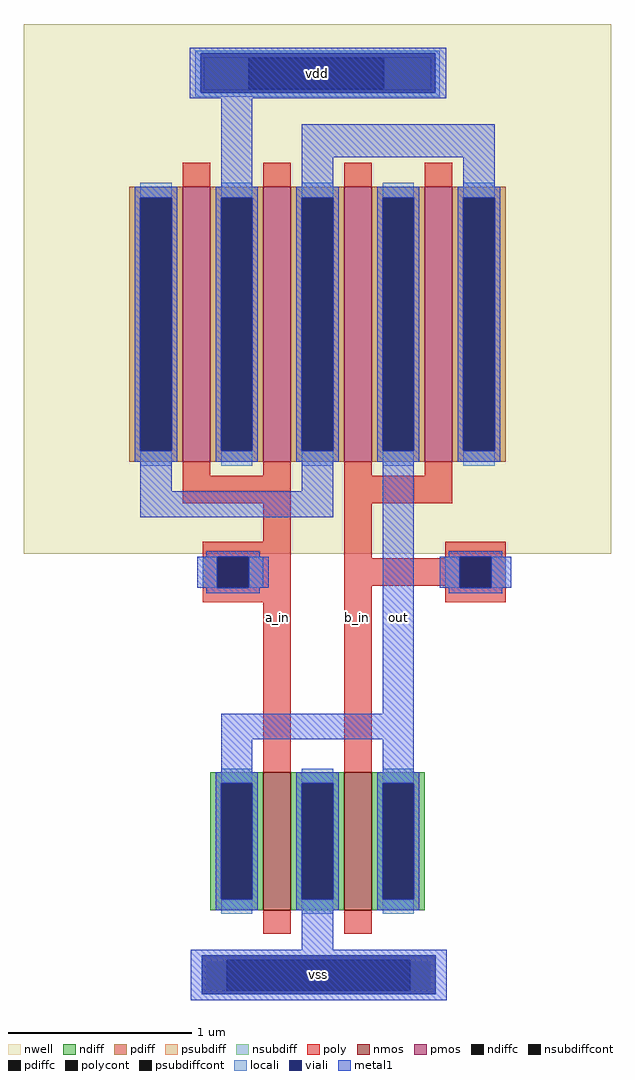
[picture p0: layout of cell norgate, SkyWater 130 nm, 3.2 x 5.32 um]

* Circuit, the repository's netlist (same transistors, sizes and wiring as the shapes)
* Extracted by KLayout with SG13G2 LVS runset on : 16/03/2026 18:31

.SUBCKT norgate
M$1 \$1 \$5 \$2 \$1 sg13_lv_nmos L=0.15u W=0.75u AS=0.255p AD=0.1425p PS=2.18u
+ PD=1.13u
M$2 \$2 \$6 \$1 \$1 sg13_lv_nmos L=0.15u W=0.75u AS=0.1425p AD=0.255p PS=1.13u
+ PD=2.18u
M$3 \$2 \$5 \$3 \$4 sg13_lv_pmos L=0.15u W=3u AS=1.02p AD=0.57p PS=6.68u
+ PD=3.38u
M$4 \$3 \$6 \$4 \$4 sg13_lv_pmos L=0.15u W=3u AS=0.57p AD=1.02p PS=3.38u
+ PD=6.68u
.ENDS norgate

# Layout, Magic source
magic
tech sky130A
magscale 1 2
<< nwell >>
rect 0 501 640 1063
rect 0 486 291 501
rect 315 499 640 501
rect 315 486 429 499
rect 459 486 640 499
<< poly >>
rect 173 571 203 586
rect 261 571 291 586
rect 173 541 291 571
rect 261 499 291 541
rect 195 433 291 499
rect 261 248 291 433
rect 349 571 379 586
rect 437 571 467 586
rect 349 541 467 571
rect 349 481 379 541
rect 459 481 525 499
rect 349 451 525 481
rect 349 248 379 451
rect 459 433 525 451
<< metal1 >>
rect 181 982 460 1037
rect 215 886 249 982
rect 303 918 513 954
rect 303 886 337 918
rect 479 886 513 918
rect 127 554 161 598
rect 303 554 337 598
rect 127 526 337 554
rect 391 312 425 598
rect 215 284 425 312
rect 215 245 249 284
rect 391 248 425 284
rect 303 55 337 98
rect 182 0 461 55
use grid  grid_0 blocks/xorgate/layout
transform 1 0 221 0 1 10
box -61 -10 259 1053
use sky130_fd_pr__nfet_01v8_KRUHEH  sky130_fd_pr__nfet_01v8_KRUHEH_0 blocks/xorgate/layout
transform 1 0 276 0 1 173
box -73 -101 73 101
use sky130_fd_pr__nfet_01v8_KRUHEH  sky130_fd_pr__nfet_01v8_KRUHEH_1
transform 1 0 364 0 1 173
box -73 -101 73 101
use sky130_fd_pr__pfet_01v8_MDJ67A  sky130_fd_pr__pfet_01v8_MDJ67A_0 blocks/xorgate/layout
transform 1 0 188 0 1 736
box -109 -212 109 212
use sky130_fd_pr__pfet_01v8_MDJ67A  sky130_fd_pr__pfet_01v8_MDJ67A_1
transform 1 0 276 0 1 736
box -109 -212 109 212
use sky130_fd_pr__pfet_01v8_MDJ67A  sky130_fd_pr__pfet_01v8_MDJ67A_2
transform 1 0 364 0 1 736
box -109 -212 109 212
use sky130_fd_pr__pfet_01v8_MDJ67A  sky130_fd_pr__pfet_01v8_MDJ67A_3
transform 1 0 452 0 1 736
box -109 -212 109 212
use viapoly_M1  viapoly_M1_0 blocks/xorgate/layout
transform 1 0 155 0 1 235
box 34 198 112 264
use viapoly_M1  viapoly_M1_1
transform 1 0 419 0 1 235
box 34 198 112 264
<< labels >>
rlabel metal1 182 0 461 55 1 vss
rlabel metal1 181 982 460 1037 1 vdd
rlabel space 391 236 425 598 1 out
rlabel poly 261 248 291 586 1 a_in
rlabel poly 349 248 379 586 1 b_in
<< end >>

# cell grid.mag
magic
tech sky130A
magscale 1 2
<< nwell >>
rect -61 476 259 1053
<< psubdiff >>
rect -24 0 0 34
rect 200 0 224 34
<< nsubdiff >>
rect -25 1016 223 1017
rect -25 982 24 1016
rect 171 982 223 1016
rect -25 981 223 982
<< psubdiffcont >>
rect 0 0 200 34
<< nsubdiffcont >>
rect 24 982 171 1016
<< locali >>
rect -34 1021 232 1024
rect -34 978 -28 1021
rect 227 978 232 1021
rect -34 974 232 978
<< viali >>
rect -28 1016 227 1021
rect -28 982 24 1016
rect 24 982 171 1016
rect 171 982 227 1016
rect -28 978 227 982
rect -27 34 228 39
rect -27 0 0 34
rect 0 0 200 34
rect 200 0 228 34
rect -27 -4 228 0
<< metal1 >>
rect -40 1021 239 1027
rect -40 978 -28 1021
rect 227 978 239 1021
rect -40 972 239 978
rect -39 39 240 45
rect -39 -4 -27 39
rect 228 -4 240 39
rect -39 -10 240 -4
<< end >>

# cell sky130_fd_pr__nfet_01v8_KRUHEH: kit device sky130_fd_pr__nfet_01v8, w 0.75 l 0.150 m 1 nf 1 diffcov 100 polycov 100 guard 0 glc 0 grc 0 gtc 0 gbc 0 tbcov 100 rlcov 100 topc 0 botc 0 poverlap 0 doverlap 0 lmin 0.15 wmin 0.42 class mosfet compatible {sky130_fd_pr__nfet_01v8 sky130_fd_pr__nfet_01v8_lvt sky130_fd_bs_flash__special_sonosfet_star sky130_fd_pr__nfet_g5v0d10v5 sky130_fd_pr__nfet_05v0_nvt sky130_fd_pr__nfet_03v3_nvt} full_metal 0 viasrc 100 viadrn 100 viagate 100 viagb 0 viagr 0 viagl 0 viagt 0

# cell sky130_fd_pr__pfet_01v8_MDJ67A: kit device sky130_fd_pr__pfet_01v8, w 1.5 l 0.15 m 1 nf 1 diffcov 100 polycov 100 guard 0 glc 0 grc 0 gtc 0 gbc 0 tbcov 100 rlcov 100 topc 0 botc 0 poverlap 0 doverlap 0 lmin 0.15 wmin 0.42 class mosfet compatible {sky130_fd_pr__pfet_01v8 sky130_fd_pr__pfet_01v8_lvt sky130_fd_pr__pfet_01v8_hvt sky130_fd_pr__pfet_g5v0d10v5} full_metal 0 viasrc 100 viadrn 100 viagate 100 viagb 0 viagr 0 viagl 0 viagt 0

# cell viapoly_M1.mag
magic
tech sky130A
magscale 1 2
use sky130_fd_pr__nfet_01v8_3Y5EQC__0  sky130_fd_pr__nfet_01v8_3Y5EQC_0
transform 1 0 73 0 1 132
box -39 66 39 132
<< end >>

# cell sky130_fd_pr__nfet_01v8_3Y5EQC__0: kit device sky130_fd_pr__nfet_01v8, w 0.75 l 0.150 m 1 nf 1 diffcov 100 polycov 100 guard 0 glc 0 grc 0 gtc 0 gbc 0 tbcov 100 rlcov 100 topc 1 botc 0 poverlap 0 doverlap 1 lmin 0.15 wmin 0.42 compatible {sky130_fd_pr__nfet_01v8 sky130_fd_pr__nfet_01v8_lvt sky130_fd_bs_flash__special_sonosfet_star sky130_fd_pr__nfet_g5v0d10v5 sky130_fd_pr__nfet_05v0_nvt sky130_fd_pr__nfet_03v3_nvt} full_metal 0 viasrc 100 viadrn 100 viagate 100 viagb 0 viagr 0 viagl 0 viagt 0
